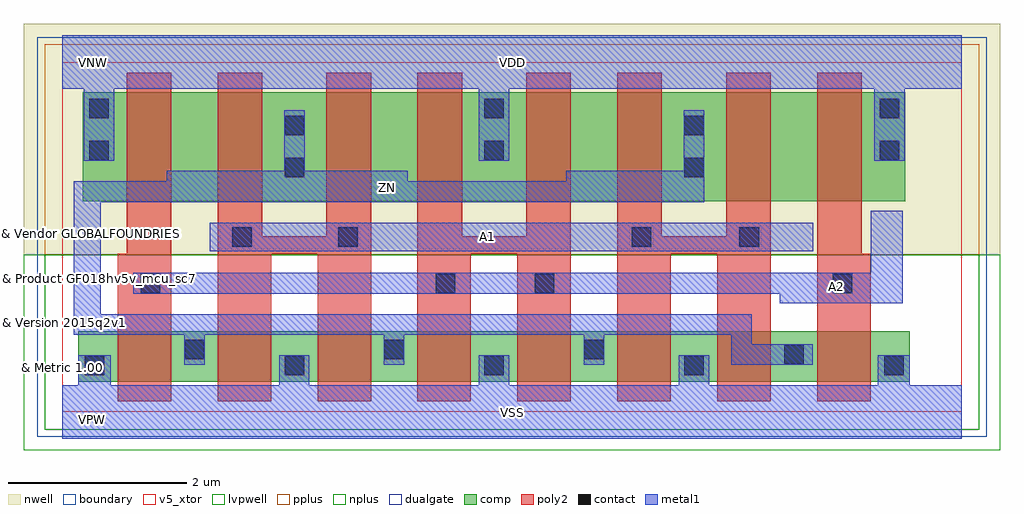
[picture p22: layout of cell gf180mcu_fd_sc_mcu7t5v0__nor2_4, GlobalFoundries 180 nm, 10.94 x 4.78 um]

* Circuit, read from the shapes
.subckt gf180mcu_fd_sc_mcu7t5v0__nor2_4 A1 A2 VDD VNW VSS ZN
XM1 ZN A2 VSS VSUBS nfet_05v0 w=0.565u l=0.6u m=4
XM2 VSS A1 ZN VSUBS nfet_05v0 w=0.565u l=0.6u m=4
XM3 n1 A2 VDD VNW pfet_05v0 w=1.22u l=0.5u
XM4 ZN A1 n1 VNW pfet_05v0 w=1.22u l=0.5u
XM5 n2 A1 ZN VNW pfet_05v0 w=1.22u l=0.5u
XM6 VDD A2 n2 VNW pfet_05v0 w=1.22u l=0.5u
XM7 n3 A2 VDD VNW pfet_05v0 w=1.22u l=0.5u
XM8 ZN A1 n3 VNW pfet_05v0 w=1.22u l=0.5u
XM9 n4 A1 ZN VNW pfet_05v0 w=1.22u l=0.5u
XM10 VDD A2 n4 VNW pfet_05v0 w=1.22u l=0.5u
.ends

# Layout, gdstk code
import gdstk
lib = gdstk.Library(unit=1e-6, precision=1e-09)
def R(c, l, rs):  # rectangles x0, y0, x1, y1
    for r in rs: c.add(gdstk.rectangle(r[:2], r[2:], *l))
def A(c, l, x, y, w, h, nx, ny, dx, dy):  # array of equal rectangles
    R(c, l, [(x+i*dx, y+j*dy, x+i*dx+w, y+j*dy+h) for i in range(nx) for j in range(ny)])
def P(c, l, *ps):  # polygons
    for p in ps: c.add(gdstk.Polygon(p, *l))
boundary = (0, 0)
nwell = (21, 0)
comp = (22, 0)
poly2 = (30, 0)
pplus = (31, 0)
nplus = (32, 0)
contact = (33, 0)
metal1 = (34, 0)
dualgate = (55, 0)
v5_xtor = (112, 1)
lvpwell = (204, 0)

gf180mcu_fd_sc_mcu7t5v0_ = lib.new_cell('gf180mcu_fd_sc_mcu7t5v0__nor2_4')
R(gf180mcu_fd_sc_mcu7t5v0_, boundary, [(0,0,10.08,3.92)])
R(gf180mcu_fd_sc_mcu7t5v0_, nwell, [(-0.43,1.76,10.51,4.35)])
R(gf180mcu_fd_sc_mcu7t5v0_, comp, [(0.18,0.34,9.5,0.905), (0.23,2.36,9.45,3.58)])
P(gf180mcu_fd_sc_mcu7t5v0_, poly2, [(1.74,0.12),(1.74,3.8),(2.24,3.8),(2.24,1.97),(2.96,1.97),(2.96,3.8),(3.46,3.8),(3.46,0.12),(2.86,0.12),(2.86,1.77),(2.34,1.77),(2.34,0.12)],
  [(3.98,0.12),(3.98,3.8),(4.48,3.8),(4.48,1.97),(5.2,1.97),(5.2,3.8),(5.7,3.8),(5.7,0.12),(5.1,0.12),(5.1,1.77),(4.58,1.77),(4.58,0.12)],
  [(6.22,0.12),(6.22,3.8),(6.72,3.8),(6.72,1.97),(7.44,1.97),(7.44,3.8),(7.94,3.8),(7.94,0.12),(7.34,0.12),(7.34,1.77),(6.82,1.77),(6.82,0.12)],
  [(8.46,0.12),(8.46,3.8),(8.96,3.8),(8.96,1.77),(9.06,1.77),(9.06,0.12)],
  [(0.62,0.12),(0.62,1.77),(0.72,1.77),(0.72,3.8),(1.22,3.8),(1.22,0.12)])
R(gf180mcu_fd_sc_mcu7t5v0_, pplus, [(-0.2,1.76,10.28,4.12)])
R(gf180mcu_fd_sc_mcu7t5v0_, nplus, [(-0.2,-0.2,10.28,1.76)])
A(gf180mcu_fd_sc_mcu7t5v0_, contact, 0.25, 0.41, 0.22, 0.22, 5, 1, 2.24, 0)
A(gf180mcu_fd_sc_mcu7t5v0_, contact, 1.37, 0.59, 0.22, 0.22, 3, 1, 2.24, 0)
A(gf180mcu_fd_sc_mcu7t5v0_, contact, 0.3, 2.82, 0.22, 0.22, 3, 2, 4.43, 0.47)
R(gf180mcu_fd_sc_mcu7t5v0_, contact, [(8.09,0.535,8.31,0.755), (0.88,1.33,1.1,1.55), (4.185,1.33,4.405,1.55), (5.295,1.33,5.515,1.55), (8.635,1.33,8.855,1.55), (1.905,1.85,2.125,2.07), (3.09,1.85,3.31,2.07), (6.38,1.85,6.6,2.07), (7.59,1.85,7.81,2.07), (2.49,2.63,2.71,2.85), (6.97,2.63,7.19,2.85), (2.49,3.1,2.71,3.32), (6.97,3.1,7.19,3.32)])
R(gf180mcu_fd_sc_mcu7t5v0_, metal1, [(1.65,1.8,8.415,2.12)])
P(gf180mcu_fd_sc_mcu7t5v0_, metal1, [(0.24,2.815),(0.24,3.62),(0,3.62),(0,4.22),(10.08,4.22),(10.08,3.62),(9.44,3.62),(9.44,2.815),(9.1,2.815),(9.1,3.62),(5.01,3.62),(5.01,2.815),(4.67,2.815),(4.67,3.62),(0.58,3.62),(0.58,2.815)],
  [(0,-0.3),(0,0.3),(0.18,0.3),(0.18,0.635),(0.54,0.635),(0.54,0.3),(2.43,0.3),(2.43,0.635),(2.77,0.635),(2.77,0.3),(4.67,0.3),(4.67,0.635),(5.01,0.635),(5.01,0.3),(6.91,0.3),(6.91,0.635),(7.25,0.635),(7.25,0.3),(9.14,0.3),(9.14,0.635),(9.5,0.635),(9.5,0.3),(10.08,0.3),(10.08,-0.3)],
  [(8.04,1.22),(8.04,1.325),(0.795,1.325),(0.795,1.56),(9.06,1.56),(9.06,2.255),(9.42,2.255),(9.42,1.22)],
  [(1.365,0.53),(1.365,0.865),(0.13,0.865),(0.13,2.585),(1.17,2.585),(1.17,2.7),(2.485,2.7),(2.485,3.38),(2.715,3.38),(2.715,2.7),(3.87,2.7),(3.87,2.585),(5.65,2.585),(5.65,2.7),(6.965,2.7),(6.965,3.38),(7.195,3.38),(7.195,2.35),(0.43,2.35),(0.43,1.095),(7.73,1.095),(7.73,0.76),(8.41,0.76),(8.41,0.53),(7.5,0.53),(7.5,0.865),(6.075,0.865),(6.075,0.53),(5.845,0.53),(5.845,0.865),(3.835,0.865),(3.835,0.53),(3.605,0.53),(3.605,0.865),(1.595,0.865),(1.595,0.53)])
R(gf180mcu_fd_sc_mcu7t5v0_, dualgate, [(-0.28,-0.28,10.36,4.2)])
R(gf180mcu_fd_sc_mcu7t5v0_, v5_xtor, [(0,0,10.08,3.92)])
R(gf180mcu_fd_sc_mcu7t5v0_, lvpwell, [(-0.43,-0.43,10.51,1.76)])
gf180mcu_fd_sc_mcu7t5v0_.add(gdstk.Label('A2', (8.68,1.4), layer=34, texttype=10))
gf180mcu_fd_sc_mcu7t5v0_.add(gdstk.Label('A1', (4.76,1.96), layer=34, texttype=10))
gf180mcu_fd_sc_mcu7t5v0_.add(gdstk.Label('ZN', (3.64,2.52), layer=34, texttype=10))
gf180mcu_fd_sc_mcu7t5v0_.add(gdstk.Label('VSS', (5.04,-0.01), layer=34, texttype=10))
gf180mcu_fd_sc_mcu7t5v0_.add(gdstk.Label('VDD', (5.04,3.92), layer=34, texttype=10))
gf180mcu_fd_sc_mcu7t5v0_.add(gdstk.Label('& Metric 1.00', (0,0.5), layer=63, texttype=63))
gf180mcu_fd_sc_mcu7t5v0_.add(gdstk.Label('& Version 2015q2v1', (0,1), layer=63, texttype=63))
gf180mcu_fd_sc_mcu7t5v0_.add(gdstk.Label('& Product GF018hv5v_mcu_sc7', (0,1.5), layer=63, texttype=63))
gf180mcu_fd_sc_mcu7t5v0_.add(gdstk.Label('& Vendor GLOBALFOUNDRIES', (0,2), layer=63, texttype=63))
gf180mcu_fd_sc_mcu7t5v0_.add(gdstk.Label('VNW', (0.345,3.92), layer=21, texttype=10))
gf180mcu_fd_sc_mcu7t5v0_.add(gdstk.Label('VPW', (0.34,-0.085), layer=204, texttype=10))

lib.write_gds('gf180mcu_fd_sc_mcu7t5v0__nor2_4.gds')
